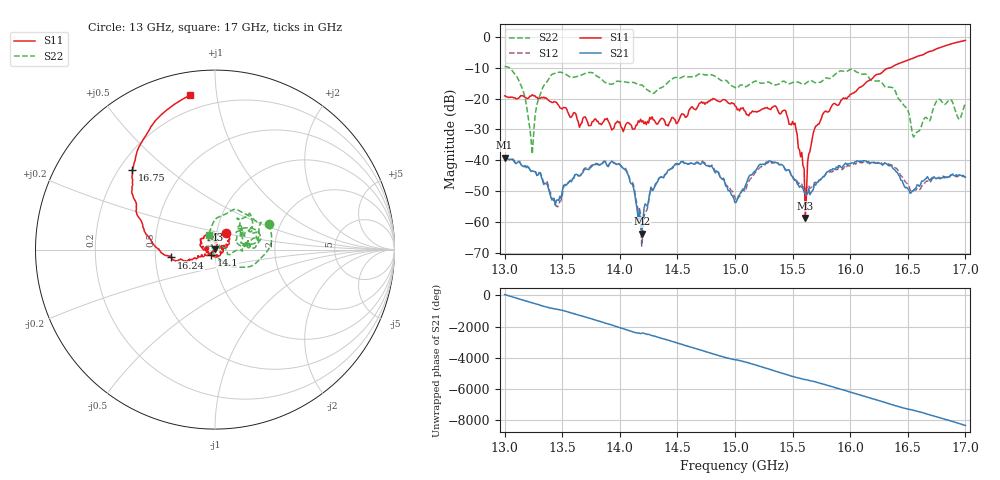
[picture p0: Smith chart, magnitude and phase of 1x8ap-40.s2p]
!Keysight Technologies,P9374A,MY57211807,A.19.30.04
!Date: Friday, May 08, 2026 15:44:52
!Correction: S11(C  2-Port  )
!S21(C  2-Port  )
!S12(C  2-Port  )
!S22(C  2-Port  )
!S2P File: Measurements: S11, S21, S12, S22:
# Hz S  dB  R 50
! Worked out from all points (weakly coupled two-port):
!   401 points, 13 GHz to 17 GHz, reference 50 ohm
!   highest |S21| = -39.17 dB at 13 GHz (marker M1); lowest = -63.8 dB at 14.19 GHz (marker M2)
!   lowest |S11| = -58.7 dB at 15.61 GHz (marker M3), VSWR 1.00, Z = 49.9 + j0.0906 ohm
!   |S11| at or under -10 dB: start of sweep to 16.35 GHz
!   |S22| runs from -38.0 to -9.6 dB; largest |S21 - S12| = 0.0011
!   S11 on the Smith chart (normalised r, x): 13 GHz: 1.11, +0.21; 14.1 GHz: 0.96, -0.06; 16.24 GHz: 0.61, -0.06; 16.75 GHz: 0.25, +0.38; 17 GHz: 0.12, +0.84
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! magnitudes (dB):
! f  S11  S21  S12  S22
! 13 GHz  -19.1  -39.2  -39.0  -9.6
! 13.15 GHz  -19.1  -41.7  -41.6  -16.5
! 13.23 GHz  -19.2  -43.6  -43.5  -33.5
! 13.4 GHz  -21.1  -51.7  -50.7  -12.6
! 13.46 GHz  -21.8  -52.8  -55.0  -11.6
! 13.67 GHz  -27.9  -44.3  -44.1  -12.3
! 13.94 GHz  -29.9  -40.7  -40.6  -15.3
! 14.1 GHz  -28.7  -47.6  -46.9  -14.8
! 14.19 GHz  -27.6  -63.8  -67.8  -15.6
! 14.34 GHz  -27.5  -45.7  -45.8  -16.8
! 14.73 GHz  -21.2  -40.9  -40.7  -12.2
! 15 GHz  -22.4  -53.7  -52.0  -16.4
! 15.22 GHz  -23.8  -41.3  -42.2  -15.0
! 15.43 GHz  -23.7  -42.6  -42.5  -14.4
! 15.52 GHz  -28.0  -46.3  -46.5  -14.6
! 15.61 GHz  -58.7  -50.9  -49.9  -15.2
! 15.67 GHz  -33.1  -50.0  -48.5  -14.3
! 16.24 GHz  -12.2  -40.7  -41.0  -14.3
! 16.34 GHz  -10.1  -41.8  -41.4  -16.3
! 16.56 GHz  -6.7  -49.3  -49.6  -31.9
! 16.75 GHz  -3.9  -45.9  -45.9  -20.8
! 17 GHz  -1.2  -45.5  -45.5  -21.3
